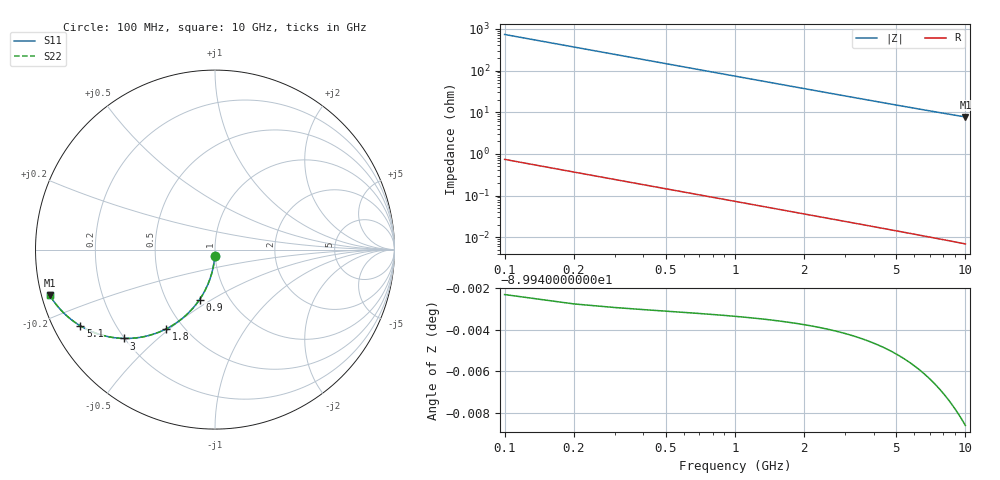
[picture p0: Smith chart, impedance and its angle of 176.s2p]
# Hz S RI R 50.00
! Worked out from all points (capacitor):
!   100 points, 100 MHz to 10 GHz, reference 50 ohm
!   read as one part in shunt: C = 2.17 pF near 100 MHz
!   lowest |Z| = 7.7 ohm at 10 GHz (marker M1)
!   S11 on the Smith chart (normalised r, x): 100 MHz: 1.00, -0.07; 900 MHz: 0.73, -0.44; 1.8 GHz: 0.40, -0.49; 3 GHz: 0.20, -0.39; 5.1 GHz: 0.08, -0.26; 10 GHz: 0.02, -0.14
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1e8  -0.00117 -0.0339  0.9988 -0.0342  0.9988 -0.0342  -0.00117 -0.0339
2e8  -0.00467 -0.0675  0.9953 -0.0681  0.9953 -0.0681  -0.00467 -0.0675
3e8  -0.0104 -0.1007  0.9895 -0.1016  0.9895 -0.1016  -0.0104 -0.1007
4e8  -0.0183 -0.1332  0.9816 -0.1344  0.9816 -0.1344  -0.0183 -0.1332
5e8  -0.0283 -0.1648  0.9716 -0.1662  0.9716 -0.1662  -0.0283 -0.1648
6e8  -0.0403 -0.1953  0.9597 -0.197  0.9597 -0.197  -0.0403 -0.1953
7e8  -0.054 -0.2245  0.946 -0.2265  0.946 -0.2265  -0.054 -0.2245
9e8  -0.0861 -0.2787  0.9139 -0.2814  0.9139 -0.2814  -0.0861 -0.2787
1.1e9  -0.1232 -0.3266  0.8767 -0.3299  0.8767 -0.3299  -0.1232 -0.3266
1.3e9  -0.164 -0.3679  0.8359 -0.3717  0.8359 -0.3717  -0.164 -0.3679
1.5e9  -0.207 -0.4024  0.793 -0.4068  0.793 -0.4068  -0.207 -0.4024
1.8e9  -0.2729 -0.4423  0.727 -0.4476  0.727 -0.4476  -0.2729 -0.4423
2.1e9  -0.3379 -0.4694  0.662 -0.4756  0.662 -0.4756  -0.3379 -0.4694
2.4e9  -0.3998 -0.4858  0.6001 -0.4929  0.6001 -0.4929  -0.3998 -0.4858
3e9  -0.5096 -0.495  0.4903 -0.5039  0.4903 -0.5039  -0.5096 -0.495
3.4e9  -0.5715 -0.4893  0.4284 -0.4994  0.4284 -0.4994  -0.5715 -0.4893
4.2e9  -0.6702 -0.4633  0.3296 -0.4759  0.3296 -0.4759  -0.6702 -0.4633
5.1e9  -0.7497 -0.425  0.2502 -0.4403  0.2502 -0.4403  -0.7497 -0.425
5.9e9  -0.8003 -0.3902  0.1995 -0.4081  0.1995 -0.4081  -0.8003 -0.3902
6.7e9  -0.838 -0.3576  0.1618 -0.3781  0.1618 -0.3781  -0.838 -0.3576
8.4e9  -0.8907 -0.2983  0.1089 -0.3242  0.1089 -0.3242  -0.8907 -0.2983
1e10  -0.9207 -0.2537  0.0788 -0.285  0.0788 -0.285  -0.9207 -0.2537
